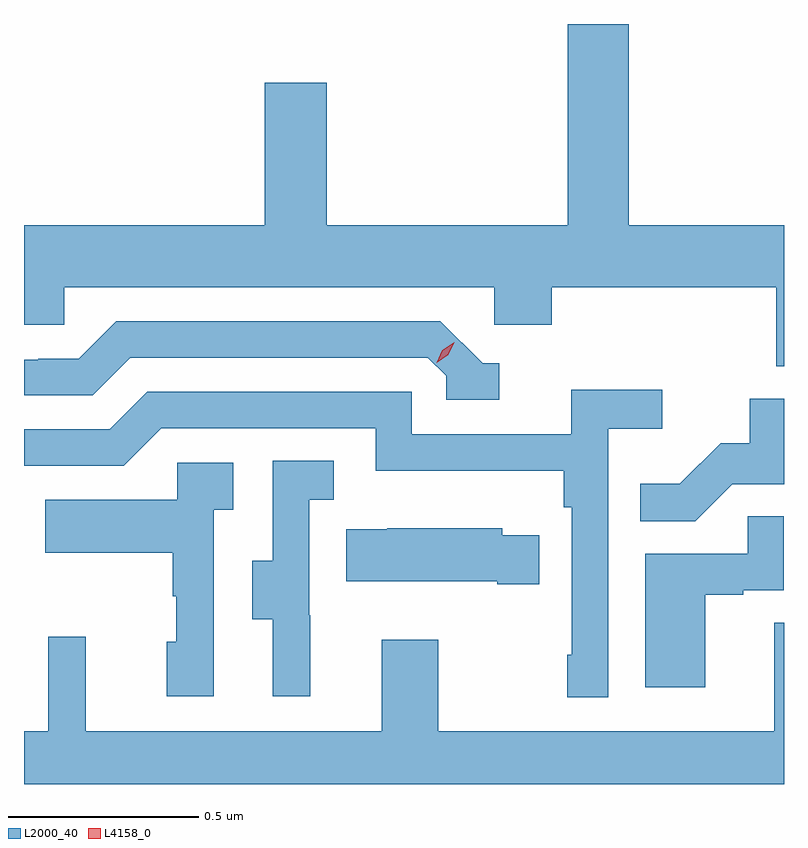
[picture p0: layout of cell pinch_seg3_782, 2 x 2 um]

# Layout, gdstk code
import gdstk
lib = gdstk.Library(unit=1e-6, precision=1e-09)
def P(c, l, *ps):  # polygons
    for p in ps: c.add(gdstk.Polygon(p, *l))
L2000_40 = (2000, 40)
L4158_0 = (4158, 0)

pinch_seg3_782 = lib.new_cell('pinch_seg3_782')
P(pinch_seg3_782, L2000_40, [(813.727,743.704),(813.318,743.704),(813.318,744.233),(813.158,744.233),(813.158,743.704),(812.524,743.704),(812.524,744.079),(812.36,744.079),(812.36,743.704),(811.727,743.704),(811.727,743.442),(811.833,743.442),(811.833,743.54),(812.964,743.54),(812.964,743.442),(813.116,743.442),(813.116,743.54),(813.707,743.54),(813.707,743.332),(813.727,743.332)],
  [(812.977,743.34),(812.934,743.34),(812.823,743.451),(811.97,743.451),(811.871,743.352),(811.764,743.352),(811.764,743.349),(811.727,743.349),(811.727,743.256),(811.908,743.256),(812.007,743.355),(812.79,743.355),(812.838,743.307),(812.838,743.244),(812.977,743.244)],
  [(813.264,743.168),(813.406,743.168),(813.406,743.27),(813.167,743.27),(813.167,743.154),(812.748,743.154),(812.748,743.265),(812.051,743.265),(811.952,743.166),(811.727,743.166),(811.727,743.07),(811.989,743.07),(812.088,743.169),(812.652,743.169),(812.652,743.057),(813.148,743.057),(813.148,742.961),(813.168,742.961),(813.168,742.573),(813.156,742.573),(813.156,742.461),(813.264,742.461)],
  [(813.591,743.022),(813.727,743.022),(813.727,743.247),(813.637,743.247),(813.637,743.13),(813.56,743.13),(813.453,743.023),(813.349,743.023),(813.349,742.924),(813.493,742.924)],
  [(812.48,742.677),(812.478,742.677),(812.478,742.981),(812.542,742.981),(812.542,743.084),(812.382,743.084),(812.382,742.821),(812.327,742.821),(812.327,742.666),(812.381,742.666),(812.381,742.464),(812.48,742.464)],
  [(812.226,742.955),(812.278,742.955),(812.278,743.079),(812.13,743.079),(812.13,742.981),(811.783,742.981),(811.783,742.841),(812.118,742.841),(812.118,742.727),(812.128,742.727),(812.128,742.608),(812.102,742.608),(812.102,742.464),(812.226,742.464)],
  [(813.52,742.731),(813.62,742.731),(813.62,742.743),(813.726,742.743),(813.726,742.937),(813.631,742.937),(813.631,742.839),(813.362,742.839),(813.362,742.488),(813.52,742.488)],
  [(813.083,742.888),(812.985,742.888),(812.985,742.906),(812.683,742.906),(812.683,742.903),(812.575,742.903),(812.575,742.766),(812.972,742.766),(812.972,742.759),(813.083,742.759)],
  [(813.727,742.658),(813.701,742.658),(813.701,742.372),(812.817,742.372),(812.817,742.612),(812.669,742.612),(812.669,742.372),(811.889,742.372),(811.889,742.621),(811.791,742.621),(811.791,742.372),(811.727,742.372),(811.727,742.233),(813.727,742.233)])
P(pinch_seg3_782, L4158_0, [(812.813,743.342),(812.813,743.342),(812.828,743.375),(812.859,743.395),(812.859,743.395),(812.859,743.395),(812.844,743.362),(812.813,743.342)])

lib.write_gds('pinch_seg3_782.gds')
